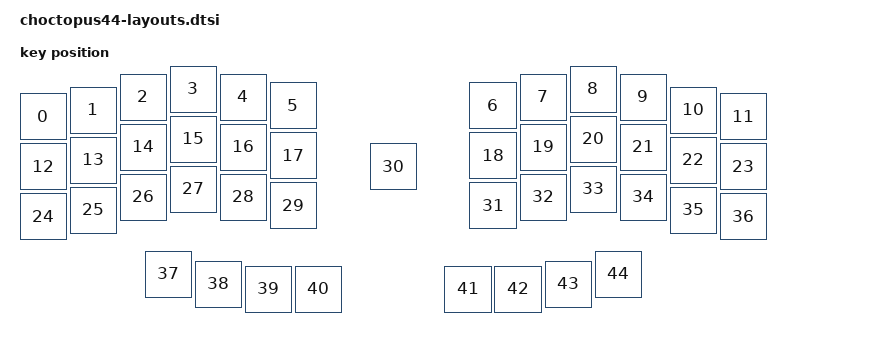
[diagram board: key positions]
/*
 * ZMK Studio physical layout for the choctopus44.
 *
 * Key order matches default_transform in choctopus44.dtsi exactly:
 *   row0: L c0-5, R c0-5
 *   row1: L c0-5, R c0-5
 *   row2: L c0-5, CENTER RC(3,0), R c0-5
 *   thumbs: L RC(3,2..5), R RC(7,0..3)
 * Coordinates are in 1/100 key units (approximate column-staggered geometry).
 */

#include <physical_layouts.dtsi>

/ {
    physical_layout0: physical_layout_0 {
        compatible = "zmk,physical-layout";
        display-name = "Choctopus44";

        keys  //                     w   h    x    y   rot  rx  ry
            = <&key_physical_attrs 100 100    0   55    0   0   0>
            , <&key_physical_attrs 100 100  100   42    0   0   0>
            , <&key_physical_attrs 100 100  200   16    0   0   0>
            , <&key_physical_attrs 100 100  300    0    0   0   0>
            , <&key_physical_attrs 100 100  400   16    0   0   0>
            , <&key_physical_attrs 100 100  500   33    0   0   0>
            , <&key_physical_attrs 100 100  900   33    0   0   0>
            , <&key_physical_attrs 100 100 1000   16    0   0   0>
            , <&key_physical_attrs 100 100 1100    0    0   0   0>
            , <&key_physical_attrs 100 100 1200   16    0   0   0>
            , <&key_physical_attrs 100 100 1300   42    0   0   0>
            , <&key_physical_attrs 100 100 1400   55    0   0   0>
            , <&key_physical_attrs 100 100    0  155    0   0   0>
            , <&key_physical_attrs 100 100  100  142    0   0   0>
            , <&key_physical_attrs 100 100  200  116    0   0   0>
            , <&key_physical_attrs 100 100  300  100    0   0   0>
            , <&key_physical_attrs 100 100  400  116    0   0   0>
            , <&key_physical_attrs 100 100  500  133    0   0   0>
            , <&key_physical_attrs 100 100  900  133    0   0   0>
            , <&key_physical_attrs 100 100 1000  116    0   0   0>
            , <&key_physical_attrs 100 100 1100  100    0   0   0>
            , <&key_physical_attrs 100 100 1200  116    0   0   0>
            , <&key_physical_attrs 100 100 1300  142    0   0   0>
            , <&key_physical_attrs 100 100 1400  155    0   0   0>
            , <&key_physical_attrs 100 100    0  255    0   0   0>
            , <&key_physical_attrs 100 100  100  242    0   0   0>
            , <&key_physical_attrs 100 100  200  216    0   0   0>
            , <&key_physical_attrs 100 100  300  200    0   0   0>
            , <&key_physical_attrs 100 100  400  216    0   0   0>
            , <&key_physical_attrs 100 100  500  233    0   0   0>
            , <&key_physical_attrs 100 100  700  155    0   0   0>
            , <&key_physical_attrs 100 100  900  233    0   0   0>
            , <&key_physical_attrs 100 100 1000  216    0   0   0>
            , <&key_physical_attrs 100 100 1100  200    0   0   0>
            , <&key_physical_attrs 100 100 1200  216    0   0   0>
            , <&key_physical_attrs 100 100 1300  242    0   0   0>
            , <&key_physical_attrs 100 100 1400  255    0   0   0>
            , <&key_physical_attrs 100 100  250  370    0   0   0>
            , <&key_physical_attrs 100 100  350  390    0   0   0>
            , <&key_physical_attrs 100 100  450  400    0   0   0>
            , <&key_physical_attrs 100 100  550  400    0   0   0>
            , <&key_physical_attrs 100 100  850  400    0   0   0>
            , <&key_physical_attrs 100 100  950  400    0   0   0>
            , <&key_physical_attrs 100 100 1050  390    0   0   0>
            , <&key_physical_attrs 100 100 1150  370    0   0   0>
            ;
    };
};
